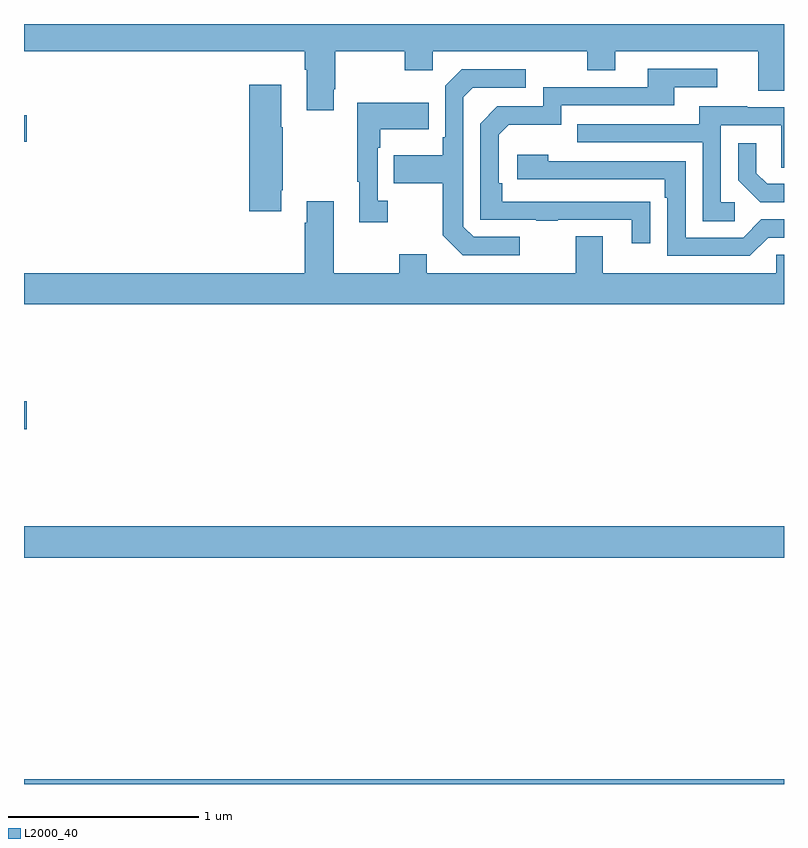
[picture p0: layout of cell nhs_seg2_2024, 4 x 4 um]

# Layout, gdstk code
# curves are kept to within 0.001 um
import gdstk
lib = gdstk.Library(unit=1e-6, precision=1e-09)
def R(c, l, rs):  # rectangles x0, y0, x1, y1
    for r in rs: c.add(gdstk.rectangle(r[:2], r[2:], *l))
def P(c, l, *ps):  # polygons
    for p in ps: c.add(gdstk.Polygon(p, *l))
L2000_40 = (2000, 40)

nhs_seg2_2024 = lib.new_cell('nhs_seg2_2024')
R(nhs_seg2_2024, L2000_40, [(217,623.8,221,623.824), (217,624.992,221,625.156), (217,625.667,217.015,625.814), (217,627.179,217.015,627.321)])
P(nhs_seg2_2024, L2000_40, [(218.629,627.457),(218.637,627.457),(218.637,627.656),(219.004,627.656),(219.004,627.557),(219.15,627.557),(219.15,627.656),(219.964,627.656),(219.964,627.557),(220.111,627.557),(220.111,627.656),(220.865,627.656),(220.865,627.448),(221,627.448),(221,627.8),(217,627.8),(217,627.656),(218.477,627.656),(218.477,627.56),(218.489,627.56),(218.489,627.345),(218.629,627.345)],
  [(220.295,626.864),(219.518,626.865),(219.518,626.962),(219.498,626.962),(219.498,627.216),(219.551,627.269),(219.828,627.269),(219.828,627.372),(220.423,627.372),(220.423,627.468),(220.648,627.468),(220.648,627.564),(220.283,627.564),(220.283,627.468),(219.732,627.468),(219.732,627.366),(219.492,627.366),(219.402,627.276),(219.402,626.769),(219.697,626.769),(219.697,626.764),(219.809,626.764),(219.809,626.769),(220.199,626.769),(220.199,626.646),(220.295,626.646)],
  [(219.61,626.679),(219.366,626.679),(219.312,626.733),(219.312,627.414),(219.363,627.465),(219.64,627.465),(219.64,627.561),(219.303,627.561),(219.216,627.474),(219.216,627.205),(219.204,627.205),(219.204,627.109),(218.947,627.109),(218.947,626.962),(219.204,626.962),(219.204,626.689),(219.309,626.583),(219.61,626.583)],
  [(218.353,626.926),(218.361,626.926),(218.361,627.257),(218.353,627.257),(218.353,627.481),(218.186,627.481),(218.186,626.814),(218.353,626.814)],
  [(218.914,626.87),(218.862,626.87),(218.862,627.149),(218.875,627.149),(218.875,627.245),(219.131,627.245),(219.131,627.385),(218.754,627.385),(218.754,626.969),(218.765,626.969),(218.765,626.757),(218.914,626.757)],
  [(220.741,626.862),(220.668,626.862),(220.668,627.267),(220.986,627.267),(220.986,627.043),(221,627.043),(221,627.363),(220.807,627.363),(220.807,627.367),(220.553,627.367),(220.553,627.273),(219.913,627.273),(219.913,627.177),(220.572,627.177),(220.572,626.761),(220.741,626.761)],
  [(221,626.958),(220.912,626.958),(220.855,627.015),(220.855,627.172),(220.758,627.172),(220.758,626.978),(220.874,626.862),(221,626.862)],
  [(220.917,626.676),(221,626.676),(221,626.772),(220.881,626.772),(220.785,626.676),(220.482,626.676),(220.482,627.078),(219.758,627.078),(219.758,627.112),(219.597,627.112),(219.597,626.982),(220.373,626.982),(220.373,626.885),(220.386,626.885),(220.386,626.58),(220.821,626.58)],
  [(221,626.586),(220.959,626.586),(220.959,626.488),(220.045,626.488),(220.045,626.683),(219.905,626.683),(219.905,626.488),(219.121,626.488),(219.121,626.587),(218.974,626.587),(218.974,626.488),(218.629,626.488),(218.629,626.866),(218.489,626.866),(218.489,626.753),(218.477,626.753),(218.477,626.488),(217,626.488),(217,626.324),(221,626.324)])

lib.write_gds('nhs_seg2_2024.gds')
